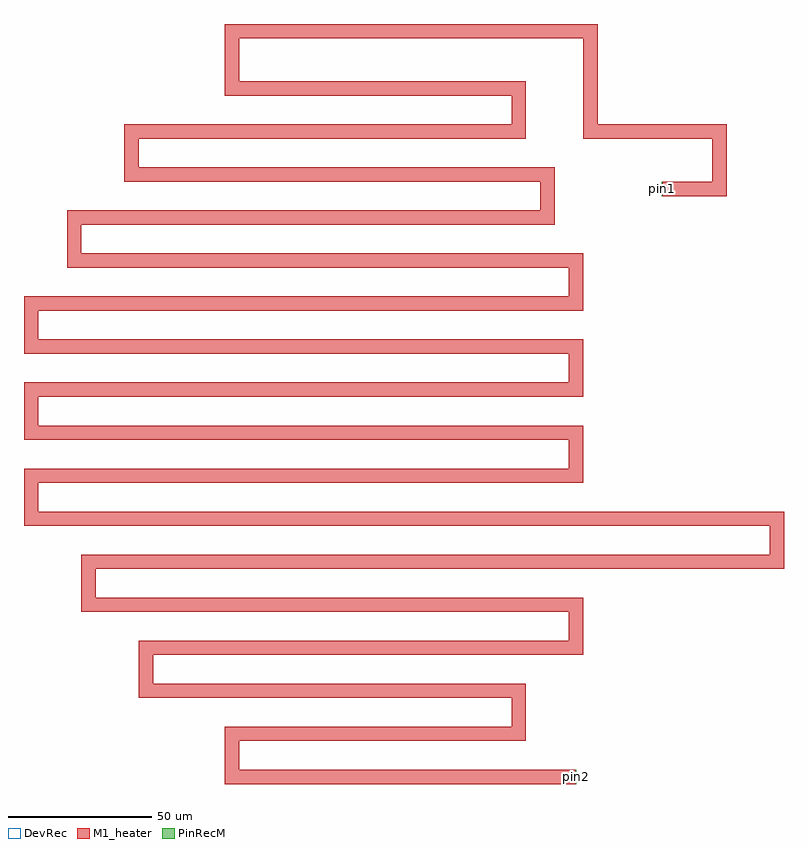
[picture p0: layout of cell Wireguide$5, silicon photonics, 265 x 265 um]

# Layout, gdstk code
import gdstk
lib = gdstk.Library(unit=1e-6, precision=1e-09)
PinRecM = (1, 11)
M1_heater = (11, 0)
DevRec = (68, 0)

wireguide_5 = lib.new_cell('Wireguide$5')
wireguide_5.add(gdstk.FlexPath([(150,-10),(170,-10),(170,10),(125,10),(125,45),(0,45),(0,25),(100,25),(100,10),(-35,10),(-35,-5),(110,-5),(110,-20),(-55,-20),(-55,-35),(120,-35),(120,-50),(-70,-50),(-70,-65),(120,-65),(120,-80),(-70,-80),(-70,-95),(120,-95),(120,-110),(-70,-110),(-70,-125),(190,-125),(190,-140),(-50,-140),(-50,-155),(120,-155),(120,-170),(-30,-170),(-30,-185),(100,-185),(100,-200),(0,-200),(0,-215),(120,-215)], 5, ends="flush", simple_path=True, layer=68, datatype=0))  # DevRec
wireguide_5.add(gdstk.FlexPath([(150.05,-10),(149.95,-10)], 5, ends="flush", simple_path=True, layer=1, datatype=11))  # PinRecM
wireguide_5.add(gdstk.FlexPath([(119.95,-215),(120.05,-215)], 5, ends="flush", simple_path=True, layer=1, datatype=11))  # PinRecM
wireguide_5.add(gdstk.FlexPath([(150,-10),(170,-10),(170,10),(125,10),(125,45),(0,45),(0,25),(100,25),(100,10),(-35,10),(-35,-5),(110,-5),(110,-20),(-55,-20),(-55,-35),(120,-35),(120,-50),(-70,-50),(-70,-65),(120,-65),(120,-80),(-70,-80),(-70,-95),(120,-95),(120,-110),(-70,-110),(-70,-125),(190,-125),(190,-140),(-50,-140),(-50,-155),(120,-155),(120,-170),(-30,-170),(-30,-185),(100,-185),(100,-200),(0,-200),(0,-215),(120,-215)], 5, ends="flush", simple_path=True, layer=11, datatype=0))  # M1_heater
wireguide_5.add(gdstk.Label('pin1', (150,-10), layer=1, texttype=11))
wireguide_5.add(gdstk.Label('pin2', (120,-215), layer=1, texttype=11))

lib.write_gds('Wireguide_5.gds')
